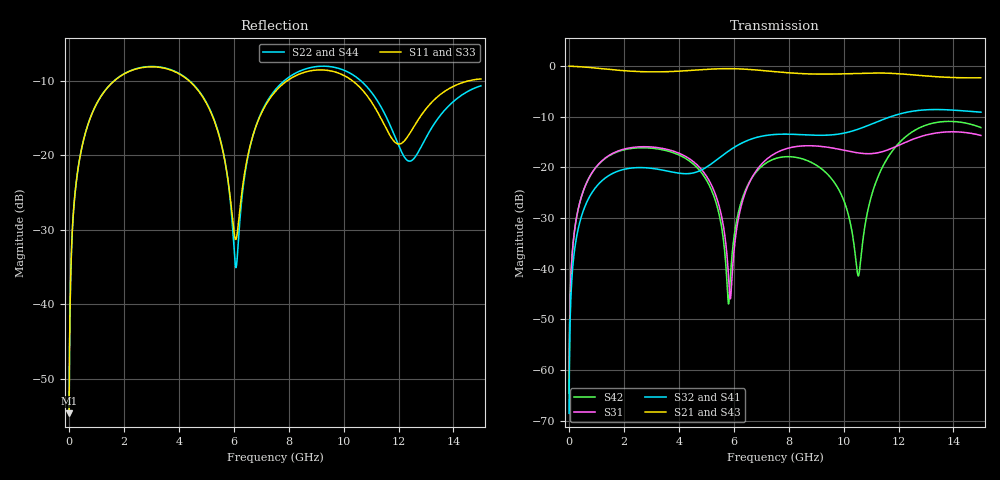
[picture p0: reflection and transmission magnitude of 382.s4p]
! Created with skrf 1.8.0 (http://scikit-rf.org).
# GHz S RI R 50.0
!freq ReS11 ImS11 ReS12 ImS12 ReS13 ImS13
! ReS14 ImS14
! ReS21 ImS21 ReS22 ImS22 ReS23 ImS23
! ReS24 ImS24
! ReS31 ImS31 ReS32 ImS32 ReS33 ImS33
! ReS34 ImS34
! ReS41 ImS41 ReS42 ImS42 ReS43 ImS43
! ReS44 ImS44
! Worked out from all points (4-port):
!   2499 points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, 5 MHz to 15 GHz, reference 50 ohm
!   strongest paths, dB at 5 MHz, 3.476 GHz, 7.19 GHz, 11.1 GHz, 15 GHz:
!     S21: 0.0, -1.1, -0.9, -1.4, -2.3
!     S43: 0.0, -1.1, -1.0, -1.4, -2.3
!     S32: -68.6, -20.6, -13.7, -11.3, -9.1
!     S41: -68.6, -20.6, -13.7, -11.3, -9.2
!     S31: -64.6, -16.3, -18.4, -17.2, -13.7
!     S42: -64.6, -16.6, -19.1, -24.1, -12.1
!   lowest |S11| = -54.6 dB at 5 MHz (marker M1), VSWR 1.00, Z = 50.1 + j0.113 ohm
!   |S11| at or under -10 dB: start of sweep to 1.656 GHz; 4.366 GHz to 7.948 GHz (3.582 GHz wide, 58.2 % of centre); 10.32 GHz to 14.57 GHz (4.256 GHz wide, 34.2 % of centre)
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0.005  0.00148 0.00112  0.9985 -0.00288  7.37e-05 0.000583  -7.16e-05 -0.000366
       0.9985 -0.00288  0.00148 0.00112  -7.16e-05 -0.000366  7.36e-05 0.000583
       7.37e-05 0.000583  -7.16e-05 -0.000366  0.00148 0.00112  0.9985 -0.00288
       -7.16e-05 -0.000366  7.36e-05 0.000583  0.9985 -0.00288  0.00148 0.00112
0.3126303  0.0201 0.0745  0.9726 -0.1797  0.00925 0.035  -0.00755 -0.0218
           0.9726 -0.1797  0.0202 0.0745  -0.00756 -0.0218  0.00887 0.035
           0.00925 0.035  -0.00756 -0.0218  0.0201 0.0745  0.9726 -0.1797
           -0.00755 -0.0218  0.00887 0.035  0.9726 -0.1797  0.0202 0.0745
1.569404  0.2412 0.1882  0.6081 -0.6932  0.1197 0.0655  -0.0851 -0.0156
          0.6081 -0.6932  0.2428 0.1873  -0.0851 -0.0156  0.1144 0.0716
          0.1197 0.0655  -0.0851 -0.0156  0.2412 0.1882  0.6081 -0.6932
          -0.0851 -0.0156  0.1144 0.0716  0.6081 -0.6932  0.2429 0.1872
5.877449  0.0313 -0.0404  -0.9288 -0.1686  -0.00482 0.00144  -0.0232 0.1472
          -0.9288 -0.1686  0.0219 -0.0439  -0.0215 0.1475  0.00462 0.0066
          -0.00482 0.00144  -0.0215 0.1475  0.0311 -0.0396  -0.9289 -0.1681
          -0.0232 0.1472  0.00462 0.0066  -0.9289 -0.1681  0.0219 -0.0431
9.410171  0.3707 -0.0143  0.0101 0.8331  0.0758 -0.1388  0.2034 -0.0387
          0.0101 0.8331  0.3937 -0.03  0.2036 -0.0427  0.0773 -0.0375
          0.0758 -0.1388  0.2036 -0.0427  0.3746 -0.013  0.0102 0.8312
          0.2034 -0.0387  0.0773 -0.0375  0.0102 0.8312  0.3983 -0.0314
10.53564  0.2633 -0.1272  0.4497 0.7192  -0.0708 -0.1195  0.2011 -0.1274
          0.4497 0.7192  0.28 -0.1673  0.1987 -0.132  -0.00638 -0.00557
          -0.0708 -0.1195  0.1987 -0.132  0.2696 -0.1289  0.4476 0.718
          0.2011 -0.1274  -0.00638 -0.00557  0.4476 0.718  0.2851 -0.1711
15  0.3247 -0.00762  0.2765 -0.7152  0.2037 -0.0343  -0.3442 -0.0497
    0.2765 -0.7152  0.2907 0.0287  -0.3487 -0.0399  0.2406 -0.0569
    0.2037 -0.0343  -0.3487 -0.0399  0.3147 -0.0067  0.2773 -0.7173
    -0.3442 -0.0497  0.2406 -0.0569  0.2773 -0.7173  0.2885 0.0226
